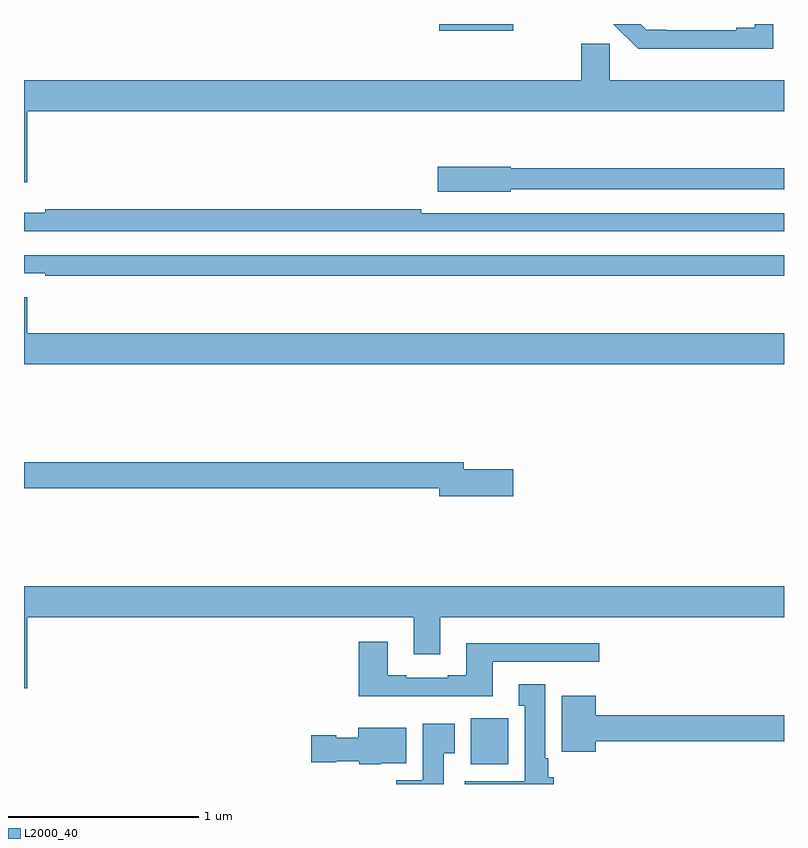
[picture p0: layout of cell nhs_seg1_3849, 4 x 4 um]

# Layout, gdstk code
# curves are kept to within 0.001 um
import gdstk
lib = gdstk.Library(unit=1e-6, precision=1e-09)
def R(c, l, rs):  # rectangles x0, y0, x1, y1
    for r in rs: c.add(gdstk.rectangle(r[:2], r[2:], *l))
def P(c, l, *ps):  # polygons
    for p in ps: c.add(gdstk.Polygon(p, *l))
L2000_40 = (2000, 40)

nhs_seg1_3849 = lib.new_cell('nhs_seg1_3849')
R(nhs_seg1_3849, L2000_40, [(323.351,540.302,323.548,540.544), (323.186,544.163,323.575,544.199)])
P(nhs_seg1_3849, L2000_40, [(324.431,544.07),(324.943,544.07),(324.943,544.199),(324.845,544.199),(324.845,544.18),(324.749,544.18),(324.749,544.167),(324.276,544.168),(324.245,544.199),(324.1,544.199),(324.232,544.068),(324.431,544.068)],
  [(321.016,543.74),(325,543.74),(325,543.904),(324.083,543.904),(324.083,544.095),(323.933,544.095),(323.933,543.904),(321,543.904),(321,543.366),(321.016,543.366)],
  [(323.562,543.33),(325,543.33),(325,543.439),(323.562,543.439),(323.562,543.447),(323.178,543.447),(323.178,543.317),(323.562,543.317)],
  [(325,543.204),(323.09,543.204),(323.09,543.224),(321.112,543.224),(321.112,543.205),(321,543.205),(321,543.108),(325,543.108)],
  [(325,542.982),(321,542.982),(321,542.886),(321.112,542.886),(321.112,542.874),(325,542.874)],
  [(325,542.572),(321.016,542.572),(321.016,542.761),(321,542.761),(321,542.408),(325,542.408)],
  [(323.575,541.856),(323.314,541.856),(323.314,541.892),(321,541.892),(321,541.756),(323.186,541.756),(323.186,541.714),(323.575,541.714)],
  [(321.016,541.076),(323.051,541.076),(323.051,540.882),(323.191,540.882),(323.191,541.076),(325,541.076),(325,541.24),(321,541.24),(321,540.702),(321.016,540.702)],
  [(323.467,540.843),(324.028,540.843),(324.028,540.94),(323.327,540.94),(323.327,540.772),(323.231,540.772),(323.231,540.759),(323.011,540.759),(323.011,540.772),(322.915,540.772),(322.915,540.949),(322.763,540.949),(322.763,540.662),(323.467,540.662)],
  [(323.788,540.234),(323.758,540.234),(323.758,540.334),(323.743,540.334),(323.743,540.724),(323.603,540.724),(323.603,540.611),(323.636,540.611),(323.636,540.214),(323.319,540.214),(323.319,540.199),(323.788,540.199)],
  [(324.01,540.424),(325,540.424),(325,540.56),(324.01,540.56),(324.01,540.664),(323.831,540.664),(323.831,540.368),(324.01,540.368)],
  [(323.209,540.361),(323.266,540.361),(323.266,540.517),(323.099,540.517),(323.099,540.22),(322.96,540.22),(322.96,540.199),(323.209,540.199)],
  [(322.878,540.308),(323.011,540.308),(323.011,540.496),(322.76,540.496),(322.76,540.442),(322.644,540.442),(322.644,540.455),(322.512,540.455),(322.512,540.313),(322.644,540.313),(322.644,540.32),(322.764,540.32),(322.764,540.302),(322.878,540.302)])

lib.write_gds('nhs_seg1_3849.gds')
